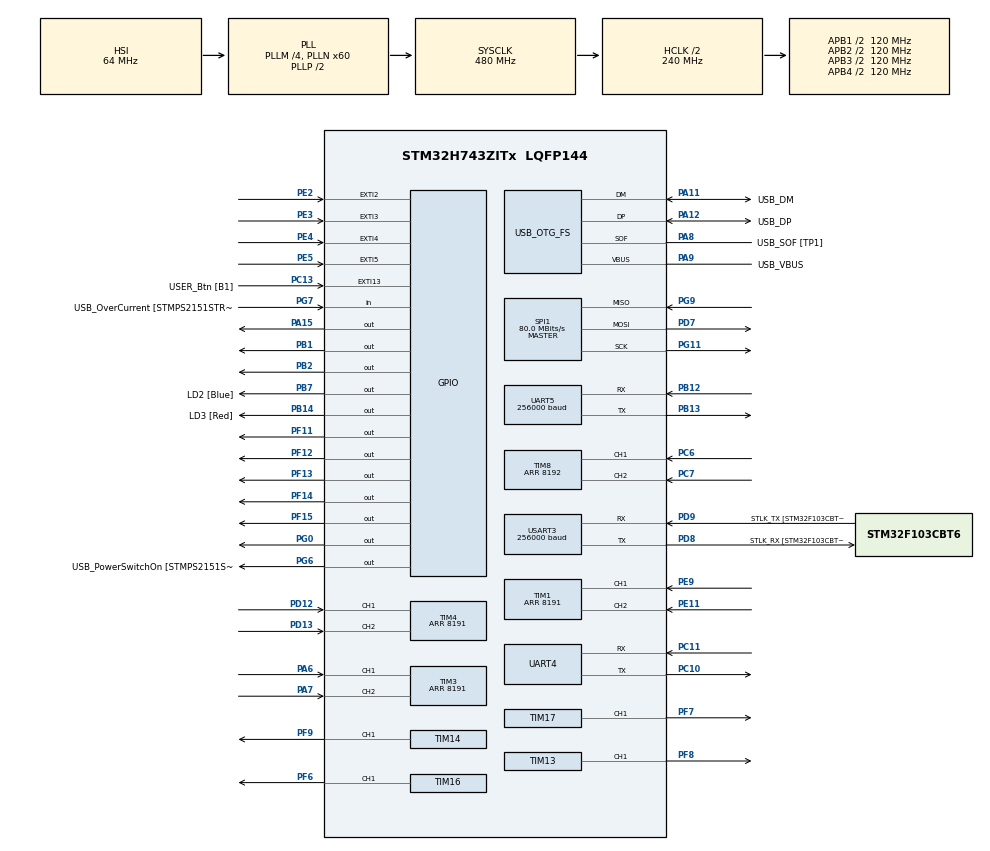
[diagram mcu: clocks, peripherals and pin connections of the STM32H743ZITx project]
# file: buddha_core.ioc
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Dma.USART3_RX.0.Polarity=HAL_DMAMUX_REQ_GEN_RISING
PD7.Mode=Full_Duplex_Master
VP_TIM17_VS_ClockSourceINT.Mode=Enable_Timer
SPI1.VirtualType=VM_MASTER
NVIC.TIM6_DAC_IRQn=true\:0\:0\:false\:false\:true\:true\:true
PB14.GPIO_Label=LD3 [Red]
PG6.GPIO_Label=USB_PowerSwitchOn [STMPS2151STR_EN]
PG0.Signal=GPIO_Output
RCC.PLLFRACN=0
PA15\ (JTDI).Signal=GPIO_Output
PB13.Signal=UART5_TX
RCC.SYSCLKSource=RCC_SYSCLKSOURCE_PLLCLK
USART3.VirtualMode-Asynchronous=VM_ASYNC
USART3.BaudRate=256000
PF7.Signal=S_TIM17_CH1
SH.S_TIM14_CH1.0=TIM14_CH1,PWM Generation1 CH1
SPI1.Direction=SPI_DIRECTION_2LINES
RCC.APB2TimFreq_Value=216000000
PC7.Signal=S_TIM8_CH2
SPI1.CalculateBaudRate=80.0 MBits/s
PD8.Signal=USART3_TX
PE5.Signal=GPXTI5
PB2.Signal=GPIO_Output
TIM17.Channel=TIM_CHANNEL_1
RCC.DIVM2=4
RCC.DIVM1=4
PE9.Signal=S_TIM1_CH1
SPI1.DataSize=SPI_DATASIZE_8BIT
SH.S_TIM4_CH2.0=TIM4_CH2,Encoder_Interface
PE2.Signal=GPXTI2
PA8.Signal=USB_OTG_FS_SOF
TIM4.Period=8191
Mcu.Package=LQFP144
PB1.Signal=GPIO_Output
RCC.PLL3FRACN=0
PD12.Signal=S_TIM4_CH1
PA10.Signal=USB_OTG_FS_ID
Dma.USART3_RX.0.SyncPolarity=HAL_DMAMUX_SYNC_NO_EVENT
PC11.Mode=Asynchronous
USART3.DMADisableonRxErrorParam=ADVFEATURE_DMA_DISABLEONRXERROR
PC14-OSC32_IN\ (OSC32_IN).Mode=LSE-External-Oscillator
RCC.APB2CLKDivider=RCC_HCLK_DIV2
NVIC.EXTI2_IRQn=true\:0\:0\:false\:false\:true\:true\:true
SH.S_TIM4_CH1.0=TIM4_CH1,Encoder_Interface
RCC.APB4Freq_Value=120000000
PF14.Signal=GPIO_Output
RCC.APB1TimFreq_Value=108000000
USART3.DataInvertParam=ADVFEATURE_DATAINV_DISABLE
UART5.BaudRate=256000
TIM1.Period=8191
PB13.Mode=Asynchronous
VP_TIM14_VS_ClockSourceINT.Mode=Enable_Timer
TIM16.Prescaler=119
PH0-OSC_IN\ (PH0).Mode=HSE-External-Clock-Source
Dma.USART3_RX.0.Instance=DMA1_Stream0
NVIC.EXTI4_IRQn=true\:0\:0\:false\:false\:true\:true\:true
RCC.DIVQ2=6
RCC.DIVQ1=6
PD9.GPIO_Label=STLK_TX [STM32F103CBT6_PA2]
PG9.Signal=SPI1_MISO
PA9.GPIO_Label=USB_VBUS
PC13.Signal=GPXTI13
PG9.Mode=Full_Duplex_Master
PC6.Signal=S_TIM8_CH1
PD7.Signal=SPI1_MOSI
PA11.GPIO_Label=USB_DM
SH.S_TIM16_CH1.0=TIM16_CH1,PWM Generation1 CH1
RCC.DIVP2=6
VP_TIM16_VS_ClockSourceINT.Mode=Enable_Timer
RCC.APB1CLKDivider=RCC_HCLK_DIV4
SH.S_TIM8_CH2.0=TIM8_CH2,Encoder_Interface
PA8.GPIO_Label=USB_SOF [TP1]
TIM13.Channel=TIM_CHANNEL_1
PE5.GPIO_ModeDefaultEXTI=GPIO_MODE_IT_FALLING
PA9.Signal=USB_OTG_FS_VBUS
Dma.USART3_RX.0.EventEnable=DISABLE
RCC.DIVN2=60
RCC.DIVN1=60
Dma.USART3_RX.0.SyncEnable=DISABLE
PD8.Mode=Asynchronous
PB14.Signal=GPIO_Output
RCC.USBCLockSelection=RCC_USBCLKSOURCE_HSI48
PE2.GPIO_PuPd=GPIO_NOPULL
SH.S_TIM8_CH1.0=TIM8_CH1,Encoder_Interface
VP_TIM13_VS_ClockSourceINT.Mode=Enable_Timer
TIM14.Channel=TIM_CHANNEL_1
RCC.PRESCALERUSB=RCC_USBCLKSOURCE_PLL_DIV1_5
TIM13.Prescaler=119
SPI1.Mode=SPI_MODE_MASTER
PG7.GPIO_Label=USB_OverCurrent [STMPS2151STR_FAULT]
PE3.GPIO_PuPd=GPIO_NOPULL
PF13.Signal=GPIO_Output
TIM14.Prescaler=119
PE4.GPIO_PuPd=GPIO_NOPULL
TIM8.Period=8192
PE2.PinAttribute=Free
PG11.Mode=Full_Duplex_Master
PA11.Signal=USB_OTG_FS_DM
ProjectManager.HeapSize=0x200
PF9.Signal=S_TIM14_CH1
SH.S_TIM17_CH1.0=TIM17_CH1,PWM Generation1 CH1
NVIC.PriorityGroup=NVIC_PRIORITYGROUP_4
PE3.Signal=GPXTI3
PE2.GPIO_ModeDefaultEXTI=GPIO_MODE_IT_FALLING
PA8.Mode=Activate_SOF_FS
Mcu.Family=STM32H7
NVIC.USART3_IRQn=true\:0\:0\:false\:false\:true\:true\:true
Dma.USART3_RX.0.PeriphInc=DMA_PINC_DISABLE
USART3.MSBFirstParam=ADVFEATURE_MSBFIRST_DISABLE
TIM17.Prescaler=119
RCC.CortexFreq_Value=480000000
PG6.Signal=GPIO_Output
RCC.HPRE=RCC_HCLK_DIV2
PH0-OSC_IN\ (PH0).Signal=RCC_OSC_IN
PC10.Signal=UART4_TX
PC15-OSC32_OUT\ (OSC32_OUT).Mode=LSE-External-Oscillator
TIM4.EncoderMode=TIM_ENCODERMODE_TI12
RCC.SYSCLKSourceVirtual=RCC_SYSCLKSOURCE_PLLCLK
TIM3.EncoderMode=TIM_ENCODERMODE_TI12
NVIC.EXTI3_IRQn=true\:0\:0\:false\:false\:true\:true\:true
TIM1.EncoderMode=TIM_ENCODERMODE_TI12
TIM8.EncoderMode=TIM_ENCODERMODE_TI12
PA11.Mode=Device_Only
RCC.PLL2FRACN=0
PC13.GPIO_Label=USER_Btn [B1]
PD9.Mode=Asynchronous
SH.S_TIM13_CH1.0=TIM13_CH1,PWM Generation1 CH1
PG11.Signal=SPI1_SCK
ProjectManager.StackSize=0x400
NVIC.UART5_IRQn=true\:0\:0\:false\:false\:true\:true\:true
VP_TIM7_VS_ClockSourceINT.Mode=Enable_Timer
PD13.Signal=S_TIM4_CH2
PA12.Signal=USB_OTG_FS_DP
PE5.GPIO_PuPd=GPIO_NOPULL
RCC.HCLKFreq_Value=240000000
TIM3.Period=8191
PF12.Signal=GPIO_Output
TIM7.Period=1000
RCC.AHBFreq_Value=216000000
RCC.HSE_VALUE=48000000
Dma.USART3_RX.0.MemDataAlignment=DMA_MDATAALIGN_BYTE
RCC.PLLMUL=RCC_PLL_MUL9
Dma.USART3_RX.0.SyncSignalID=NONE
PF11.Signal=GPIO_Output
PA10.GPIO_Label=USB_ID
Dma.USART3_RX.0.PeriphDataAlignment=DMA_PDATAALIGN_BYTE
USART3.FIFOMode=FIFOMODE_DISABLE
PB7.Signal=GPIO_Output
Dma.USART3_RX.0.FIFOMode=DMA_FIFOMODE_DISABLE
SH.S_TIM3_CH1.0=TIM3_CH1,Encoder_Interface
TIM6.Period=1000
PE4.Signal=GPXTI4
RCC.APB3Freq_Value=120000000
PB7.GPIO_Label=LD2 [Blue]
Dma.USART3_RX.0.Direction=DMA_PERIPH_TO_MEMORY
PA6.Signal=S_TIM3_CH1
PB12.Mode=Asynchronous
RCC.D1PPRE=RCC_APB3_DIV2
USB_OTG_FS.VirtualMode=Device_Only
PF8.Signal=S_TIM13_CH1
Dma.USART3_RX.0.MemInc=DMA_MINC_ENABLE
USART3.OverrunDisableParam=ADVFEATURE_OVERRUN_DISABLE
NVIC.DMA1_Stream0_IRQn=true\:0\:0\:false\:false\:true\:false\:true
Dma.Request0=USART3_RX
SPI1.BaudRatePrescaler=SPI_BAUDRATEPRESCALER_2
NVIC.TIM7_IRQn=true\:0\:0\:false\:false\:true\:true\:true
PE3.GPIO_ModeDefaultEXTI=GPIO_MODE_IT_FALLING
PG7.Signal=GPIO_Input
Dma.USART3_RX.0.SyncRequestNumber=1
PC11.Signal=UART4_RX
TIM6.Prescaler=119
PC10.Mode=Asynchronous
VP_TIM6_VS_ClockSourceINT.Mode=Enable_Timer
PE4.GPIO_ModeDefaultEXTI=GPIO_MODE_IT_FALLING
RCC.D2PPRE2=RCC_APB2_DIV2
RCC.D2PPRE1=RCC_APB1_DIV2
PD9.Signal=USART3_RX
TIM16.Channel=TIM_CHANNEL_1
PA12.GPIO_Label=USB_DP
Dma.USART3_RX.0.Mode=DMA_CIRCULAR
PD8.GPIO_Label=STLK_RX [STM32F103CBT6_PA3]
PA9.Mode=Activate_VBUS
SH.S_TIM1_CH1.0=TIM1_CH1,Encoder_Interface
PF6.Signal=S_TIM16_CH1
PB3\ (JTDO/TRACESWO).Signal=UART7_RX
ProjectManager.TargetToolchain=STM32CubeIDE
PC15-OSC32_OUT\ (OSC32_OUT).Signal=RCC_OSC32_OUT
RCC.USBFreq_Value=48000000
PE11.Signal=S_TIM1_CH2
SH.S_TIM3_CH2.0=TIM3_CH2,Encoder_Interface
TIM7.Prescaler=119
board=NUCLEO-H743ZI
RCC.VCOOutputFreq_Value=432000000
RCC.APB2Freq_Value=120000000
SH.S_TIM1_CH2.0=TIM1_CH2,Encoder_Interface
RCC.ADCFreq_Value=160000000
PF15.Signal=GPIO_Output
Mcu.Name=STM32H743ZITx
RCC.PLL3_VCI_Range-AdvancedSettings=RCC_PLL3VCIRANGE_3
Dma.USART3_RX.0.RequestNumber=1
RCC.48MHZClocksFreq_Value=24000000
RCC.SYSCLKFreq_VALUE=480000000
Dma.USART3_RX.0.Priority=DMA_PRIORITY_LOW
PA12.Mode=Device_Only
PC14-OSC32_IN\ (OSC32_IN).Signal=RCC_OSC32_IN
NVIC.EXTI9_5_IRQn=true\:0\:0\:false\:false\:true\:true\:true
Dma.USART3_RX.0.SignalID=NONE
RCC.HSI_VALUE=64000000
RCC.PLLQ=9
PH0-OSC_IN\ (PH0).GPIO_Label=MCO
RCC.PLLM=25
RCC.PLLN=432
RCC.D3PPRE=RCC_APB4_DIV2
RCC.APB1Freq_Value=120000000
PB12.Signal=UART5_RX
PA7.Signal=S_TIM3_CH2
PB4\ (NJTRST).Signal=UART7_TX

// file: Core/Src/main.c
/* USER CODE BEGIN Header */
/**
  ******************************************************************************
  * @file           : main.c
  * @brief          : Main program body
  ******************************************************************************
  * @attention
  *
  * <h2><center>&copy; Copyright (c) 2021 STMicroelectronics.
  * All rights reserved.</center></h2>
  *
  * This software component is licensed by ST under BSD 3-Clause license,
  * the "License"; You may not use this file except in compliance with the
  * License. You may obtain a copy of the License at:
  *                        opensource.org/licenses/BSD-3-Clause
  *
  ******************************************************************************
  */
/* USER CODE END Header */
#include "main.h"

/* USER CODE BEGIN Includes */
#include "string.h"
#include "stdio.h"
#include <stdlib.h>
/* USER CODE END Includes */

/* USER CODE BEGIN PTD */

typedef struct _UartStructure
{
	UART_HandleTypeDef *huart;
	uint16_t TxLen, RxLen;
	uint8_t *TxBuffer;
	uint16_t TxTail, TxHead;
	uint8_t *RxBuffer;
	uint16_t RxTail; //RXHeadUseDMA

} UARTStucrture;

typedef struct _Flag
{
	uint8_t status_flag;
	uint8_t verify_flag;
	uint8_t arrive;
	uint8_t feedback;

} FlagTypedef;

typedef struct _ControlVariables
{
	TIM_HandleTypeDef *htim;
	uint16_t viapoint;
	uint16_t nowPosition;
	uint16_t nowVelocity;
	float positionKp;
	float positionKi;
	float positionKd;
	float velocityKp;
	float velocityKi;
	float velocityKd;
	float trajectoryDeltat;
	float trajectoryT;
} controltypedef;

typedef enum
{
	pack_idle,
	pack_lenght,
	pack_inst,
	pack_collectdata,
	pack_CRCandExecute

} veriflypack;

typedef enum
{
	System_Idle,
	System_Home,
	System_ReprotStatus,
	System_JogJoint,
	System_CatesianJog,
	System_Move,
	System_PlanningMove,
	System_DYMXGripper,
	System_Moving_PositionControl,
	System_Moving_CasecadeControl

} SystemState;
/* USER CODE END PTD */

/* USER CODE BEGIN PD */

/*----------------------debug mode define-------------------------*/
#define verify_debug

#define MAX_PACKAGE_LEN 255

/* USER CODE END PD */

SPI_HandleTypeDef hspi1;

TIM_HandleTypeDef htim1;
TIM_HandleTypeDef htim3;
TIM_HandleTypeDef htim4;
TIM_HandleTypeDef htim6;
TIM_HandleTypeDef htim7;
TIM_HandleTypeDef htim8;
TIM_HandleTypeDef htim13;
TIM_HandleTypeDef htim14;
TIM_HandleTypeDef htim16;
TIM_HandleTypeDef htim17;

UART_HandleTypeDef huart4;
UART_HandleTypeDef huart5;
UART_HandleTypeDef huart3;
DMA_HandleTypeDef hdma_usart3_rx;

PCD_HandleTypeDef hpcd_USB_OTG_FS;

/* USER CODE BEGIN PV */

uint64_t _micros = 0;

/*-----------------------UART COMMUNICATION------------------*/
UARTStucrture com_rs485 = {0};
UARTStucrture com_usb = {0};
UARTStucrture dynamixel = {0};

/*-----------------------Package Verify Debug------------------*/
uint16_t verifyDegubVar[255] = {0};
uint16_t CRCdebug[2] = {0};

/*------------------------State Variable-----------------------*/
uint64_t control_timestamp = 0;
uint64_t feedback_timestamp = 0;

/*------------------------Control Variable-----------------------*/
controltypedef controlVarOfJoint[4] = {0};

/*---------------------Flag Variable-------------------------*/
FlagTypedef flag;

/*---------------------Test Variable-------------------------*/
int16_t input_data=0;
int debug_state = 0;
uint32_t now_head = 0;
uint16_t count=0;
/* USER CODE END PV */

void SystemClock_Config(void);
static void MX_GPIO_Init(void);
static void MX_DMA_Init(void);
static void MX_USART3_UART_Init(void);
static void MX_USB_OTG_FS_PCD_Init(void);
static void MX_SPI1_Init(void);
static void MX_TIM1_Init(void);
static void MX_TIM3_Init(void);
static void MX_TIM4_Init(void);
static void MX_TIM8_Init(void);
static void MX_TIM13_Init(void);
static void MX_TIM14_Init(void);
static void MX_TIM16_Init(void);
static void MX_TIM17_Init(void);
static void MX_UART4_Init(void);
static void MX_TIM6_Init(void);
static void MX_UART5_Init(void);
static void MX_TIM7_Init(void);
/* USER CODE BEGIN PFP */

void UARTInit(UARTStucrture *uart);
void UARTStartWorking(UARTStucrture *uart);
uint32_t UARTGetRxHead(UARTStucrture *uart);
int16_t UARTReadChar(UARTStucrture *uart);
int16_t UARTReadPack(UARTStucrture *uart);
void UARTTxDumpBuff(UARTStucrture *uart);
void UARTTxWrite(UARTStucrture *uart, uint8_t *data, uint16_t len);
void system_core(uint8_t input_pack,UARTStucrture *uart);

unsigned short update_crc(unsigned short crc_accum, unsigned char *data_blk_ptr,
		unsigned short data_blk_size);

void sendAck(uint16_t inst,UARTStucrture *uart);
void sendStatus(uint8_t require,UARTStucrture *uart);
void sendfeedback(uint16_t inst);
void configPosition();
void positioncontrol();
/* USER CODE END PFP */

int main(void)
{

  /* MCU Configuration--------------------------------------------------------*/

  /* Reset of all peripherals, Initializes the Flash interface and the Systick. */
  HAL_Init();

  /* Configure the system clock */
  SystemClock_Config();

  /* Initialize all configured peripherals */
  MX_GPIO_Init();
  MX_DMA_Init();
  MX_USART3_UART_Init();
  MX_USB_OTG_FS_PCD_Init();
  MX_SPI1_Init();
  MX_TIM1_Init();
  MX_TIM3_Init();
  MX_TIM4_Init();
  MX_TIM8_Init();
  MX_TIM13_Init();
  MX_TIM14_Init();
  MX_TIM16_Init();
  MX_TIM17_Init();
  MX_UART4_Init();
  MX_TIM6_Init();
  MX_UART5_Init();
  MX_TIM7_Init();
  /* USER CODE BEGIN 2 */

  com_usb.huart = &huart3;
  com_usb.RxLen = 255;
  com_usb.TxLen = 255;
  UARTInit(&com_usb);
  UARTStartWorking(&com_usb);

  dynamixel.huart = &huart4;
  dynamixel.RxLen = 255;
  dynamixel.TxLen = 255;
  UARTInit(&dynamixel);
  UARTStartWorking(&dynamixel);

  com_rs485.huart = &huart5;
  com_rs485.RxLen = 255;
  com_rs485.TxLen = 255;
  UARTInit(&com_rs485);
  UARTStartWorking(&com_rs485);

  configPosition();
  /* USER CODE END 2 */

  /* Infinite loop */
  /* USER CODE BEGIN WHILE */
  while (1)
  {

	  int16_t input_pack = UARTReadChar(&com_usb);
	  input_data = input_pack;
	  now_head = UARTGetRxHead(&com_usb);
	  if(input_pack != -1){
		  system_core(input_pack,&com_usb);
	  }
    /* USER CODE END WHILE */

  }
}

void SystemClock_Config(void)
{
  RCC_OscInitTypeDef RCC_OscInitStruct = {0};
  RCC_ClkInitTypeDef RCC_ClkInitStruct = {0};

  /** Supply configuration update enable
  */
  HAL_PWREx_ConfigSupply(PWR_LDO_SUPPLY);
  /** Configure the main internal regulator output voltage
  */
  __HAL_PWR_VOLTAGESCALING_CONFIG(PWR_REGULATOR_VOLTAGE_SCALE0);

  while(!__HAL_PWR_GET_FLAG(PWR_FLAG_VOSRDY)) {}
  /** Initializes the RCC Oscillators according to the specified parameters
  * in the RCC_OscInitTypeDef structure.
  */
  RCC_OscInitStruct.OscillatorType = RCC_OSCILLATORTYPE_HSI48|RCC_OSCILLATORTYPE_HSI;
  RCC_OscInitStruct.HSIState = RCC_HSI_DIV1;
  RCC_OscInitStruct.HSICalibrationValue = RCC_HSICALIBRATION_DEFAULT;
  RCC_OscInitStruct.HSI48State = RCC_HSI48_ON;
  RCC_OscInitStruct.PLL.PLLState = RCC_PLL_ON;
  RCC_OscInitStruct.PLL.PLLSource = RCC_PLLSOURCE_HSI;
  RCC_OscInitStruct.PLL.PLLM = 4;
  RCC_OscInitStruct.PLL.PLLN = 60;
  RCC_OscInitStruct.PLL.PLLP = 2;
  RCC_OscInitStruct.PLL.PLLQ = 6;
  RCC_OscInitStruct.PLL.PLLR = 2;
  RCC_OscInitStruct.PLL.PLLRGE = RCC_PLL1VCIRANGE_3;
  RCC_OscInitStruct.PLL.PLLVCOSEL = RCC_PLL1VCOWIDE;
  RCC_OscInitStruct.PLL.PLLFRACN = 0;
  if (HAL_RCC_OscConfig(&RCC_OscInitStruct) != HAL_OK)
  {
    Error_Handler();
  }
  /** Initializes the CPU, AHB and APB buses clocks
  */
  RCC_ClkInitStruct.ClockType = RCC_CLOCKTYPE_HCLK|RCC_CLOCKTYPE_SYSCLK
                              |RCC_CLOCKTYPE_PCLK1|RCC_CLOCKTYPE_PCLK2
                              |RCC_CLOCKTYPE_D3PCLK1|RCC_CLOCKTYPE_D1PCLK1;
  RCC_ClkInitStruct.SYSCLKSource = RCC_SYSCLKSOURCE_PLLCLK;
  RCC_ClkInitStruct.SYSCLKDivider = RCC_SYSCLK_DIV1;
  RCC_ClkInitStruct.AHBCLKDivider = RCC_HCLK_DIV2;
  RCC_ClkInitStruct.APB3CLKDivider = RCC_APB3_DIV2;
  RCC_ClkInitStruct.APB1CLKDivider = RCC_APB1_DIV2;
  RCC_ClkInitStruct.APB2CLKDivider = RCC_APB2_DIV2;
  RCC_ClkInitStruct.APB4CLKDivider = RCC_APB4_DIV2;

  if (HAL_RCC_ClockConfig(&RCC_ClkInitStruct, FLASH_LATENCY_4) != HAL_OK)
  {
    Error_Handler();
  }
}

static void MX_SPI1_Init(void)
{

  /* SPI1 parameter configuration*/
  hspi1.Instance = SPI1;
  hspi1.Init.Mode = SPI_MODE_MASTER;
  hspi1.Init.Direction = SPI_DIRECTION_2LINES;
  hspi1.Init.DataSize = SPI_DATASIZE_8BIT;
  hspi1.Init.CLKPolarity = SPI_POLARITY_LOW;
  hspi1.Init.CLKPhase = SPI_PHASE_1EDGE;
  hspi1.Init.NSS = SPI_NSS_SOFT;
  hspi1.Init.BaudRatePrescaler = SPI_BAUDRATEPRESCALER_2;
  hspi1.Init.FirstBit = SPI_FIRSTBIT_MSB;
  hspi1.Init.TIMode = SPI_TIMODE_DISABLE;
  hspi1.Init.CRCCalculation = SPI_CRCCALCULATION_DISABLE;
  hspi1.Init.CRCPolynomial = 0x0;
  hspi1.Init.NSSPMode = SPI_NSS_PULSE_ENABLE;
  hspi1.Init.NSSPolarity = SPI_NSS_POLARITY_LOW;
  hspi1.Init.FifoThreshold = SPI_FIFO_THRESHOLD_01DATA;
  hspi1.Init.TxCRCInitializationPattern = SPI_CRC_INITIALIZATION_ALL_ZERO_PATTERN;
  hspi1.Init.RxCRCInitializationPattern = SPI_CRC_INITIALIZATION_ALL_ZERO_PATTERN;
  hspi1.Init.MasterSSIdleness = SPI_MASTER_SS_IDLENESS_00CYCLE;
  hspi1.Init.MasterInterDataIdleness = SPI_MASTER_INTERDATA_IDLENESS_00CYCLE;
  hspi1.Init.MasterReceiverAutoSusp = SPI_MASTER_RX_AUTOSUSP_DISABLE;
  hspi1.Init.MasterKeepIOState = SPI_MASTER_KEEP_IO_STATE_DISABLE;
  hspi1.Init.IOSwap = SPI_IO_SWAP_DISABLE;
  if (HAL_SPI_Init(&hspi1) != HAL_OK)
  {
    Error_Handler();
  }

}

static void MX_TIM1_Init(void)
{

  TIM_Encoder_InitTypeDef sConfig = {0};
  TIM_MasterConfigTypeDef sMasterConfig = {0};

  htim1.Instance = TIM1;
  htim1.Init.Prescaler = 0;
  htim1.Init.CounterMode = TIM_COUNTERMODE_UP;
  htim1.Init.Period = 8191;
  htim1.Init.ClockDivision = TIM_CLOCKDIVISION_DIV1;
  htim1.Init.RepetitionCounter = 0;
  htim1.Init.AutoReloadPreload = TIM_AUTORELOAD_PRELOAD_DISABLE;
  sConfig.EncoderMode = TIM_ENCODERMODE_TI12;
  sConfig.IC1Polarity = TIM_ICPOLARITY_RISING;
  sConfig.IC1Selection = TIM_ICSELECTION_DIRECTTI;
  sConfig.IC1Prescaler = TIM_ICPSC_DIV1;
  sConfig.IC1Filter = 0;
  sConfig.IC2Polarity = TIM_ICPOLARITY_RISING;
  sConfig.IC2Selection = TIM_ICSELECTION_DIRECTTI;
  sConfig.IC2Prescaler = TIM_ICPSC_DIV1;
  sConfig.IC2Filter = 0;
  if (HAL_TIM_Encoder_Init(&htim1, &sConfig) != HAL_OK)
  {
    Error_Handler();
  }
  sMasterConfig.MasterOutputTrigger = TIM_TRGO_RESET;
  sMasterConfig.MasterOutputTrigger2 = TIM_TRGO2_RESET;
  sMasterConfig.MasterSlaveMode = TIM_MASTERSLAVEMODE_DISABLE;
  if (HAL_TIMEx_MasterConfigSynchronization(&htim1, &sMasterConfig) != HAL_OK)
  {
    Error_Handler();
  }

}

static void MX_TIM3_Init(void)
{

  TIM_Encoder_InitTypeDef sConfig = {0};
  TIM_MasterConfigTypeDef sMasterConfig = {0};

  htim3.Instance = TIM3;
  htim3.Init.Prescaler = 0;
  htim3.Init.CounterMode = TIM_COUNTERMODE_UP;
  htim3.Init.Period = 8191;
  htim3.Init.ClockDivision = TIM_CLOCKDIVISION_DIV1;
  htim3.Init.AutoReloadPreload = TIM_AUTORELOAD_PRELOAD_DISABLE;
  sConfig.EncoderMode = TIM_ENCODERMODE_TI12;
  sConfig.IC1Polarity = TIM_ICPOLARITY_RISING;
  sConfig.IC1Selection = TIM_ICSELECTION_DIRECTTI;
  sConfig.IC1Prescaler = TIM_ICPSC_DIV1;
  sConfig.IC1Filter = 0;
  sConfig.IC2Polarity = TIM_ICPOLARITY_RISING;
  sConfig.IC2Selection = TIM_ICSELECTION_DIRECTTI;
  sConfig.IC2Prescaler = TIM_ICPSC_DIV1;
  sConfig.IC2Filter = 0;
  if (HAL_TIM_Encoder_Init(&htim3, &sConfig) != HAL_OK)
  {
    Error_Handler();
  }
  sMasterConfig.MasterOutputTrigger = TIM_TRGO_RESET;
  sMasterConfig.MasterSlaveMode = TIM_MASTERSLAVEMODE_DISABLE;
  if (HAL_TIMEx_MasterConfigSynchronization(&htim3, &sMasterConfig) != HAL_OK)
  {
    Error_Handler();
  }

}

static void MX_TIM4_Init(void)
{

  TIM_Encoder_InitTypeDef sConfig = {0};
  TIM_MasterConfigTypeDef sMasterConfig = {0};

  htim4.Instance = TIM4;
  htim4.Init.Prescaler = 0;
  htim4.Init.CounterMode = TIM_COUNTERMODE_UP;
  htim4.Init.Period = 8191;
  htim4.Init.ClockDivision = TIM_CLOCKDIVISION_DIV1;
  htim4.Init.AutoReloadPreload = TIM_AUTORELOAD_PRELOAD_DISABLE;
  sConfig.EncoderMode = TIM_ENCODERMODE_TI12;
  sConfig.IC1Polarity = TIM_ICPOLARITY_RISING;
  sConfig.IC1Selection = TIM_ICSELECTION_DIRECTTI;
  sConfig.IC1Prescaler = TIM_ICPSC_DIV1;
  sConfig.IC1Filter = 0;
  sConfig.IC2Polarity = TIM_ICPOLARITY_RISING;
  sConfig.IC2Selection = TIM_ICSELECTION_DIRECTTI;
  sConfig.IC2Prescaler = TIM_ICPSC_DIV1;
  sConfig.IC2Filter = 0;
  if (HAL_TIM_Encoder_Init(&htim4, &sConfig) != HAL_OK)
  {
    Error_Handler();
  }
  sMasterConfig.MasterOutputTrigger = TIM_TRGO_RESET;
  sMasterConfig.MasterSlaveMode = TIM_MASTERSLAVEMODE_DISABLE;
  if (HAL_TIMEx_MasterConfigSynchronization(&htim4, &sMasterConfig) != HAL_OK)
  {
    Error_Handler();
  }

}

static void MX_TIM6_Init(void)
{

  TIM_MasterConfigTypeDef sMasterConfig = {0};

  htim6.Instance = TIM6;
  htim6.Init.Prescaler = 119;
  htim6.Init.CounterMode = TIM_COUNTERMODE_UP;
  htim6.Init.Period = 1000;
  htim6.Init.AutoReloadPreload = TIM_AUTORELOAD_PRELOAD_DISABLE;
  if (HAL_TIM_Base_Init(&htim6) != HAL_OK)
  {
    Error_Handler();
  }
  sMasterConfig.MasterOutputTrigger = TIM_TRGO_RESET;
  sMasterConfig.MasterSlaveMode = TIM_MASTERSLAVEMODE_DISABLE;
  if (HAL_TIMEx_MasterConfigSynchronization(&htim6, &sMasterConfig) != HAL_OK)
  {
    Error_Handler();
  }

}

static void MX_TIM7_Init(void)
{

  TIM_MasterConfigTypeDef sMasterConfig = {0};

  htim7.Instance = TIM7;
  htim7.Init.Prescaler = 119;
  htim7.Init.CounterMode = TIM_COUNTERMODE_UP;
  htim7.Init.Period = 1000;
  htim7.Init.AutoReloadPreload = TIM_AUTORELOAD_PRELOAD_DISABLE;
  if (HAL_TIM_Base_Init(&htim7) != HAL_OK)
  {
    Error_Handler();
  }
  sMasterConfig.MasterOutputTrigger = TIM_TRGO_RESET;
  sMasterConfig.MasterSlaveMode = TIM_MASTERSLAVEMODE_DISABLE;
  if (HAL_TIMEx_MasterConfigSynchronization(&htim7, &sMasterConfig) != HAL_OK)
  {
    Error_Handler();
  }

}

static void MX_TIM8_Init(void)
{

  TIM_Encoder_InitTypeDef sConfig = {0};
  TIM_MasterConfigTypeDef sMasterConfig = {0};

  htim8.Instance = TIM8;
  htim8.Init.Prescaler = 0;
  htim8.Init.CounterMode = TIM_COUNTERMODE_UP;
  htim8.Init.Period = 8192;
  htim8.Init.ClockDivision = TIM_CLOCKDIVISION_DIV1;
  htim8.Init.RepetitionCounter = 0;
  htim8.Init.AutoReloadPreload = TIM_AUTORELOAD_PRELOAD_DISABLE;
  sConfig.EncoderMode = TIM_ENCODERMODE_TI12;
  sConfig.IC1Polarity = TIM_ICPOLARITY_RISING;
  sConfig.IC1Selection = TIM_ICSELECTION_DIRECTTI;
  sConfig.IC1Prescaler = TIM_ICPSC_DIV1;
  sConfig.IC1Filter = 0;
  sConfig.IC2Polarity = TIM_ICPOLARITY_RISING;
  sConfig.IC2Selection = TIM_ICSELECTION_DIRECTTI;
  sConfig.IC2Prescaler = TIM_ICPSC_DIV1;
  sConfig.IC2Filter = 0;
  if (HAL_TIM_Encoder_Init(&htim8, &sConfig) != HAL_OK)
  {
    Error_Handler();
  }
  sMasterConfig.MasterOutputTrigger = TIM_TRGO_RESET;
  sMasterConfig.MasterOutputTrigger2 = TIM_TRGO2_RESET;
  sMasterConfig.MasterSlaveMode = TIM_MASTERSLAVEMODE_DISABLE;
  if (HAL_TIMEx_MasterConfigSynchronization(&htim8, &sMasterConfig) != HAL_OK)
  {
    Error_Handler();
  }

}

static void MX_TIM13_Init(void)
{

  TIM_OC_InitTypeDef sConfigOC = {0};

  htim13.Instance = TIM13;
  htim13.Init.Prescaler = 119;
  htim13.Init.CounterMode = TIM_COUNTERMODE_UP;
  htim13.Init.Period = 65535;
  htim13.Init.ClockDivision = TIM_CLOCKDIVISION_DIV1;
  htim13.Init.AutoReloadPreload = TIM_AUTORELOAD_PRELOAD_DISABLE;
  if (HAL_TIM_Base_Init(&htim13) != HAL_OK)
  {
    Error_Handler();
  }
  if (HAL_TIM_PWM_Init(&htim13) != HAL_OK)
  {
    Error_Handler();
  }
  sConfigOC.OCMode = TIM_OCMODE_PWM1;
  sConfigOC.Pulse = 0;
  sConfigOC.OCPolarity = TIM_OCPOLARITY_HIGH;
  sConfigOC.OCFastMode = TIM_OCFAST_DISABLE;
  if (HAL_TIM_PWM_ConfigChannel(&htim13, &sConfigOC, TIM_CHANNEL_1) != HAL_OK)
  {
    Error_Handler();
  }
  HAL_TIM_MspPostInit(&htim13);

}

static void MX_TIM14_Init(void)
{

  TIM_OC_InitTypeDef sConfigOC = {0};

  htim14.Instance = TIM14;
  htim14.Init.Prescaler = 119;
  htim14.Init.CounterMode = TIM_COUNTERMODE_UP;
  htim14.Init.Period = 65535;
  htim14.Init.ClockDivision = TIM_CLOCKDIVISION_DIV1;
  htim14.Init.AutoReloadPreload = TIM_AUTORELOAD_PRELOAD_DISABLE;
  if (HAL_TIM_Base_Init(&htim14) != HAL_OK)
  {
    Error_Handler();
  }
  if (HAL_TIM_PWM_Init(&htim14) != HAL_OK)
  {
    Error_Handler();
  }
  sConfigOC.OCMode = TIM_OCMODE_PWM1;
  sConfigOC.Pulse = 0;
  sConfigOC.OCPolarity = TIM_OCPOLARITY_HIGH;
  sConfigOC.OCFastMode = TIM_OCFAST_DISABLE;
  if (HAL_TIM_PWM_ConfigChannel(&htim14, &sConfigOC, TIM_CHANNEL_1) != HAL_OK)
  {
    Error_Handler();
  }
  HAL_TIM_MspPostInit(&htim14);

}

static void MX_TIM16_Init(void)
{

  TIM_OC_InitTypeDef sConfigOC = {0};
  TIM_BreakDeadTimeConfigTypeDef sBreakDeadTimeConfig = {0};

  htim16.Instance = TIM16;
  htim16.Init.Prescaler = 119;
  htim16.Init.CounterMode = TIM_COUNTERMODE_UP;
  htim16.Init.Period = 65535;
  htim16.Init.ClockDivision = TIM_CLOCKDIVISION_DIV1;
  htim16.Init.RepetitionCounter = 0;
  htim16.Init.AutoReloadPreload = TIM_AUTORELOAD_PRELOAD_DISABLE;
  if (HAL_TIM_Base_Init(&htim16) != HAL_OK)
  {
    Error_Handler();
  }
  if (HAL_TIM_PWM_Init(&htim16) != HAL_OK)
  {
    Error_Handler();
  }
  sConfigOC.OCMode = TIM_OCMODE_PWM1;
  sConfigOC.Pulse = 0;
  sConfigOC.OCPolarity = TIM_OCPOLARITY_HIGH;
  sConfigOC.OCNPolarity = TIM_OCNPOLARITY_HIGH;
  sConfigOC.OCFastMode = TIM_OCFAST_DISABLE;
  sConfigOC.OCIdleState = TIM_OCIDLESTATE_RESET;
  sConfigOC.OCNIdleState = TIM_OCNIDLESTATE_RESET;
  if (HAL_TIM_PWM_ConfigChannel(&htim16, &sConfigOC, TIM_CHANNEL_1) != HAL_OK)
  {
    Error_Handler();
  }
  sBreakDeadTimeConfig.OffStateRunMode = TIM_OSSR_DISABLE;
  sBreakDeadTimeConfig.OffStateIDLEMode = TIM_OSSI_DISABLE;
  sBreakDeadTimeConfig.LockLevel = TIM_LOCKLEVEL_OFF;
  sBreakDeadTimeConfig.DeadTime = 0;
  sBreakDeadTimeConfig.BreakState = TIM_BREAK_DISABLE;
  sBreakDeadTimeConfig.BreakPolarity = TIM_BREAKPOLARITY_HIGH;
  sBreakDeadTimeConfig.BreakFilter = 0;
  sBreakDeadTimeConfig.AutomaticOutput = TIM_AUTOMATICOUTPUT_DISABLE;
  if (HAL_TIMEx_ConfigBreakDeadTime(&htim16, &sBreakDeadTimeConfig) != HAL_OK)
  {
    Error_Handler();
  }
  HAL_TIM_MspPostInit(&htim16);

}

static void MX_TIM17_Init(void)
{

  TIM_OC_InitTypeDef sConfigOC = {0};
  TIM_BreakDeadTimeConfigTypeDef sBreakDeadTimeConfig = {0};

  htim17.Instance = TIM17;
  htim17.Init.Prescaler = 119;
  htim17.Init.CounterMode = TIM_COUNTERMODE_UP;
  htim17.Init.Period = 65535;
  htim17.Init.ClockDivision = TIM_CLOCKDIVISION_DIV1;
  htim17.Init.RepetitionCounter = 0;
  htim17.Init.AutoReloadPreload = TIM_AUTORELOAD_PRELOAD_DISABLE;
  if (HAL_TIM_Base_Init(&htim17) != HAL_OK)
  {
    Error_Handler();
  }
  if (HAL_TIM_PWM_Init(&htim17) != HAL_OK)
  {
    Error_Handler();
  }
  sConfigOC.OCMode = TIM_OCMODE_PWM1;
  sConfigOC.Pulse = 0;
  sConfigOC.OCPolarity = TIM_OCPOLARITY_HIGH;
  sConfigOC.OCNPolarity = TIM_OCNPOLARITY_HIGH;
  sConfigOC.OCFastMode = TIM_OCFAST_DISABLE;
  sConfigOC.OCIdleState = TIM_OCIDLESTATE_RESET;
  sConfigOC.OCNIdleState = TIM_OCNIDLESTATE_RESET;
  if (HAL_TIM_PWM_ConfigChannel(&htim17, &sConfigOC, TIM_CHANNEL_1) != HAL_OK)
  {
    Error_Handler();
  }
  sBreakDeadTimeConfig.OffStateRunMode = TIM_OSSR_DISABLE;
  sBreakDeadTimeConfig.OffStateIDLEMode = TIM_OSSI_DISABLE;
  sBreakDeadTimeConfig.LockLevel = TIM_LOCKLEVEL_OFF;
  sBreakDeadTimeConfig.DeadTime = 0;
  sBreakDeadTimeConfig.BreakState = TIM_BREAK_DISABLE;
  sBreakDeadTimeConfig.BreakPolarity = TIM_BREAKPOLARITY_HIGH;
  sBreakDeadTimeConfig.BreakFilter = 0;
  sBreakDeadTimeConfig.AutomaticOutput = TIM_AUTOMATICOUTPUT_DISABLE;
  if (HAL_TIMEx_ConfigBreakDeadTime(&htim17, &sBreakDeadTimeConfig) != HAL_OK)
  {
    Error_Handler();
  }
  HAL_TIM_MspPostInit(&htim17);

}

static void MX_UART4_Init(void)
{

  huart4.Instance = UART4;
  huart4.Init.BaudRate = 115200;
  huart4.Init.WordLength = UART_WORDLENGTH_8B;
  huart4.Init.StopBits = UART_STOPBITS_1;
  huart4.Init.Parity = UART_PARITY_NONE;
  huart4.Init.Mode = UART_MODE_TX_RX;
  huart4.Init.HwFlowCtl = UART_HWCONTROL_NONE;
  huart4.Init.OverSampling = UART_OVERSAMPLING_16;
  huart4.Init.OneBitSampling = UART_ONE_BIT_SAMPLE_DISABLE;
  huart4.Init.ClockPrescaler = UART_PRESCALER_DIV1;
  huart4.AdvancedInit.AdvFeatureInit = UART_ADVFEATURE_NO_INIT;
  if (HAL_UART_Init(&huart4) != HAL_OK)
  {
    Error_Handler();
  }
  if (HAL_UARTEx_SetTxFifoThreshold(&huart4, UART_TXFIFO_THRESHOLD_1_8) != HAL_OK)
  {
    Error_Handler();
  }
  if (HAL_UARTEx_SetRxFifoThreshold(&huart4, UART_RXFIFO_THRESHOLD_1_8) != HAL_OK)
  {
    Error_Handler();
  }
  if (HAL_UARTEx_DisableFifoMode(&huart4) != HAL_OK)
  {
    Error_Handler();
  }

}

static void MX_UART5_Init(void)
{

  huart5.Instance = UART5;
  huart5.Init.BaudRate = 256000;
  huart5.Init.WordLength = UART_WORDLENGTH_8B;
  huart5.Init.StopBits = UART_STOPBITS_1;
  huart5.Init.Parity = UART_PARITY_NONE;
  huart5.Init.Mode = UART_MODE_TX_RX;
  huart5.Init.HwFlowCtl = UART_HWCONTROL_NONE;
  huart5.Init.OverSampling = UART_OVERSAMPLING_16;
  huart5.Init.OneBitSampling = UART_ONE_BIT_SAMPLE_DISABLE;
  huart5.Init.ClockPrescaler = UART_PRESCALER_DIV1;
  huart5.AdvancedInit.AdvFeatureInit = UART_ADVFEATURE_NO_INIT;
  if (HAL_UART_Init(&huart5) != HAL_OK)
  {
    Error_Handler();
  }
  if (HAL_UARTEx_SetTxFifoThreshold(&huart5, UART_TXFIFO_THRESHOLD_1_8) != HAL_OK)
  {
    Error_Handler();
  }
  if (HAL_UARTEx_SetRxFifoThreshold(&huart5, UART_RXFIFO_THRESHOLD_1_8) != HAL_OK)
  {
    Error_Handler();
  }
  if (HAL_UARTEx_DisableFifoMode(&huart5) != HAL_OK)
  {
    Error_Handler();
  }

}

static void MX_USART3_UART_Init(void)
{

  huart3.Instance = USART3;
  huart3.Init.BaudRate = 256000;
  huart3.Init.WordLength = UART_WORDLENGTH_8B;
  huart3.Init.StopBits = UART_STOPBITS_1;
  huart3.Init.Parity = UART_PARITY_NONE;
  huart3.Init.Mode = UART_MODE_TX_RX;
  huart3.Init.HwFlowCtl = UART_HWCONTROL_NONE;
  huart3.Init.OverSampling = UART_OVERSAMPLING_16;
  huart3.Init.OneBitSampling = UART_ONE_BIT_SAMPLE_DISABLE;
  huart3.Init.ClockPrescaler = UART_PRESCALER_DIV1;
  huart3.AdvancedInit.AdvFeatureInit = UART_ADVFEATURE_RXOVERRUNDISABLE_INIT|UART_ADVFEATURE_DMADISABLEONERROR_INIT;
  huart3.AdvancedInit.OverrunDisable = UART_ADVFEATURE_OVERRUN_DISABLE;
  huart3.AdvancedInit.DMADisableonRxError = UART_ADVFEATURE_DMA_DISABLEONRXERROR;
  if (HAL_UART_Init(&huart3) != HAL_OK)
  {
    Error_Handler();
  }
  if (HAL_UARTEx_SetTxFifoThreshold(&huart3, UART_TXFIFO_THRESHOLD_1_8) != HAL_OK)
  {
    Error_Handler();
  }
  if (HAL_UARTEx_SetRxFifoThreshold(&huart3, UART_RXFIFO_THRESHOLD_1_8) != HAL_OK)
  {
    Error_Handler();
  }
  if (HAL_UARTEx_DisableFifoMode(&huart3) != HAL_OK)
  {
    Error_Handler();
  }

}

static void MX_USB_OTG_FS_PCD_Init(void)
{

  hpcd_USB_OTG_FS.Instance = USB_OTG_FS;
  hpcd_USB_OTG_FS.Init.dev_endpoints = 9;
  hpcd_USB_OTG_FS.Init.speed = PCD_SPEED_FULL;
  hpcd_USB_OTG_FS.Init.dma_enable = DISABLE;
  hpcd_USB_OTG_FS.Init.phy_itface = PCD_PHY_EMBEDDED;
  hpcd_USB_OTG_FS.Init.Sof_enable = ENABLE;
  hpcd_USB_OTG_FS.Init.low_power_enable = DISABLE;
  hpcd_USB_OTG_FS.Init.lpm_enable = DISABLE;
  hpcd_USB_OTG_FS.Init.battery_charging_enable = ENABLE;
  hpcd_USB_OTG_FS.Init.vbus_sensing_enable = ENABLE;
  hpcd_USB_OTG_FS.Init.use_dedicated_ep1 = DISABLE;
  if (HAL_PCD_Init(&hpcd_USB_OTG_FS) != HAL_OK)
  {
    Error_Handler();
  }

}

static void MX_DMA_Init(void)
{

  /* DMA controller clock enable */
  __HAL_RCC_DMA1_CLK_ENABLE();

  /* DMA interrupt init */
  /* DMA1_Stream0_IRQn interrupt configuration */
  HAL_NVIC_SetPriority(DMA1_Stream0_IRQn, 0, 0);
  HAL_NVIC_EnableIRQ(DMA1_Stream0_IRQn);

}

static void MX_GPIO_Init(void)
{
  GPIO_InitTypeDef GPIO_InitStruct = {0};

  /* GPIO Ports Clock Enable */
  __HAL_RCC_GPIOE_CLK_ENABLE();
  __HAL_RCC_GPIOC_CLK_ENABLE();
  __HAL_RCC_GPIOF_CLK_ENABLE();
  __HAL_RCC_GPIOH_CLK_ENABLE();
  __HAL_RCC_GPIOA_CLK_ENABLE();
  __HAL_RCC_GPIOB_CLK_ENABLE();
  __HAL_RCC_GPIOG_CLK_ENABLE();
  __HAL_RCC_GPIOD_CLK_ENABLE();

  /*Configure GPIO pin Output Level */
  HAL_GPIO_WritePin(GPIOB, GPIO_PIN_1|GPIO_PIN_2|LD3_Pin|LD2_Pin, GPIO_PIN_RESET);

  /*Configure GPIO pin Output Level */
  HAL_GPIO_WritePin(GPIOF, GPIO_PIN_11|GPIO_PIN_12|GPIO_PIN_13|GPIO_PIN_14
                          |GPIO_PIN_15, GPIO_PIN_RESET);

  /*Configure GPIO pin Output Level */
  HAL_GPIO_WritePin(GPIOG, GPIO_PIN_0|USB_PowerSwitchOn_Pin, GPIO_PIN_RESET);

  /*Configure GPIO pin Output Level */
  HAL_GPIO_WritePin(GPIOA, GPIO_PIN_15, GPIO_PIN_RESET);

  /*Configure GPIO pins : PE2 PE3 PE4 PE5 */
  GPIO_InitStruct.Pin = GPIO_PIN_2|GPIO_PIN_3|GPIO_PIN_4|GPIO_PIN_5;
  GPIO_InitStruct.Mode = GPIO_MODE_IT_FALLING;
  GPIO_InitStruct.Pull = GPIO_NOPULL;
  HAL_GPIO_Init(GPIOE, &GPIO_InitStruct);

  /*Configure GPIO pin : USER_Btn_Pin */
  GPIO_InitStruct.Pin = USER_Btn_Pin;
  GPIO_InitStruct.Mode = GPIO_MODE_IT_RISING;
  GPIO_InitStruct.Pull = GPIO_NOPULL;
  HAL_GPIO_Init(USER_Btn_GPIO_Port, &GPIO_InitStruct);

  /*Configure GPIO pins : PB1 PB2 LD3_Pin LD2_Pin */
  GPIO_InitStruct.Pin = GPIO_PIN_1|GPIO_PIN_2|LD3_Pin|LD2_Pin;
  GPIO_InitStruct.Mode = GPIO_MODE_OUTPUT_PP;
  GPIO_InitStruct.Pull = GPIO_NOPULL;
  GPIO_InitStruct.Speed = GPIO_SPEED_FREQ_LOW;
  HAL_GPIO_Init(GPIOB, &GPIO_InitStruct);

  /*Configure GPIO pins : PF11 PF12 PF13 PF14
                           PF15 */
  GPIO_InitStruct.Pin = GPIO_PIN_11|GPIO_PIN_12|GPIO_PIN_13|GPIO_PIN_14
                          |GPIO_PIN_15;
  GPIO_InitStruct.Mode = GPIO_MODE_OUTPUT_PP;
  GPIO_InitStruct.Pull = GPIO_NOPULL;
  GPIO_InitStruct.Speed = GPIO_SPEED_FREQ_LOW;
  HAL_GPIO_Init(GPIOF, &GPIO_InitStruct);

  /*Configure GPIO pins : PG0 USB_PowerSwitchOn_Pin */
  GPIO_InitStruct.Pin = GPIO_PIN_0|USB_PowerSwitchOn_Pin;
  GPIO_InitStruct.Mode = GPIO_MODE_OUTPUT_PP;
  GPIO_InitStruct.Pull = GPIO_NOPULL;
  GPIO_InitStruct.Speed = GPIO_SPEED_FREQ_LOW;
  HAL_GPIO_Init(GPIOG, &GPIO_InitStruct);

  /*Configure GPIO pin : USB_OverCurrent_Pin */
  GPIO_InitStruct.Pin = USB_OverCurrent_Pin;
  GPIO_InitStruct.Mode = GPIO_MODE_INPUT;
  GPIO_InitStruct.Pull = GPIO_NOPULL;
  HAL_GPIO_Init(USB_OverCurrent_GPIO_Port, &GPIO_InitStruct);

  /*Configure GPIO pin : PA15 */
  GPIO_InitStruct.Pin = GPIO_PIN_15;
  GPIO_InitStruct.Mode = GPIO_MODE_OUTPUT_PP;
  GPIO_InitStruct.Pull = GPIO_NOPULL;
  GPIO_InitStruct.Speed = GPIO_SPEED_FREQ_LOW;
  HAL_GPIO_Init(GPIOA, &GPIO_InitStruct);

  /*Configure GPIO pins : PB3 PB4 */
  GPIO_InitStruct.Pin = GPIO_PIN_3|GPIO_PIN_4;
  GPIO_InitStruct.Mode = GPIO_MODE_AF_PP;
  GPIO_InitStruct.Pull = GPIO_NOPULL;
  GPIO_InitStruct.Speed = GPIO_SPEED_FREQ_LOW;
  GPIO_InitStruct.Alternate = GPIO_AF11_UART7;
  HAL_GPIO_Init(GPIOB, &GPIO_InitStruct);

  /* EXTI interrupt init*/
  HAL_NVIC_SetPriority(EXTI2_IRQn, 0, 0);
  HAL_NVIC_EnableIRQ(EXTI2_IRQn);

  HAL_NVIC_SetPriority(EXTI3_IRQn, 0, 0);
  HAL_NVIC_EnableIRQ(EXTI3_IRQn);

  HAL_NVIC_SetPriority(EXTI4_IRQn, 0, 0);
  HAL_NVIC_EnableIRQ(EXTI4_IRQn);

  HAL_NVIC_SetPriority(EXTI9_5_IRQn, 0, 0);
  HAL_NVIC_EnableIRQ(EXTI9_5_IRQn);

}

/* USER CODE BEGIN 4 */
void UARTInit(UARTStucrture *uart){
		uart->RxBuffer = (uint8_t*) calloc(sizeof(uint8_t),uart->RxLen);
		uart->TxBuffer = (uint8_t*) calloc(sizeof(uint8_t),uart->TxLen);
		uart->RxTail = 0;
		uart->TxTail = 0;
		uart->TxHead = 0;
}

void UARTStartWorking(UARTStucrture *uart){
	HAL_UART_Receive_IT(uart->huart, uart->RxBuffer, uart->RxLen);
}

uint32_t UARTGetRxHead(UARTStucrture *uart)
{
	return uart->RxLen - uart->huart->RxXferCount;
}
int16_t UARTReadChar(UARTStucrture *uart)
{
	int16_t Result = -1;

	//check Buffer Position
	if (uart->RxTail != UARTGetRxHead(uart))
	{

		//get data from buffer
		Result = uart->RxBuffer[uart->RxTail];
		uart->RxTail = (uart->RxTail + 1) % uart->RxLen;

	}
	return Result;

}

//This UARTTxDumpBuff use to send data to other device
void UARTTxDumpBuff(UARTStucrture *uart){

	if(uart->huart->gState == HAL_UART_STATE_READY){
		if(uart->TxHead != uart->TxTail){
			uint16_t sentlen = uart->TxHead > uart->TxTail ?
					uart->TxHead - uart->TxTail :
					uart->TxLen - uart->TxTail;

			HAL_UART_Transmit_IT(uart->huart, &(uart->TxBuffer[uart->TxTail]), sentlen);

			//update tail
			uart->TxTail = (sentlen + uart->TxTail) % uart->TxLen;

		}
	}

}

//This UARTTxWrite use to copy data from data buffer to Tx buffer for transmit it to other device
void UARTTxWrite(UARTStucrture *uart, uint8_t *data, uint16_t len){

	uint16_t lenAddBuff = (len <= uart->TxLen) ? len : uart->TxLen;
	uint16_t numberOfDataCanCopy = lenAddBuff <= uart->TxLen - uart->TxHead ?
			lenAddBuff : uart->TxLen - uart->TxHead;

	//1st copy
	memcpy(&(uart->TxBuffer[uart->TxHead]), data, numberOfDataCanCopy);

	//update TxHead
	uart->TxHead = (uart->TxHead + lenAddBuff) % uart->TxLen;

	//2nd copy when 1st copy not enough memory in buffer
	if(lenAddBuff != numberOfDataCanCopy){
		memcpy(uart->TxBuffer, &(data[numberOfDataCanCopy]),
				lenAddBuff - numberOfDataCanCopy);
	}
	UARTTxDumpBuff(uart);
}
void system_core(uint8_t input_pack,UARTStucrture *uart){

	static veriflypack state = pack_idle;
	static SystemState SysState = System_Idle;
	static uint16_t lenPack = 0;
	static uint16_t instPack = 0;
	static uint16_t parameter[255] = {0};
	static uint16_t collectdata = 0;
	static uint16_t CRCCheck = 0;
	static uint16_t CRCCalculated = 0;

	switch(state)
	{
	case pack_idle:
		//check header of package
		if(input_pack == 0xFF){
			state = pack_lenght;
			debug_state = 0;
		}
		break;
	case pack_lenght:
		//collect package length
		lenPack = input_pack;
		state = pack_inst;
		debug_state = 1;
		break;
	case pack_inst:
		//collect package instruction
		instPack = input_pack;
		state = pack_collectdata;
		collectdata = 0;
		debug_state = 2;
		break;
	case pack_collectdata:
		if(lenPack - 4 != collectdata){
			parameter[collectdata] = input_pack;
			collectdata = (collectdata + 1) % 255;
			debug_state = 0xee;
		}
		else{
			CRCCheck = input_pack;
			state = pack_CRCandExecute;
			debug_state = 3;
		}
		break;
	case pack_CRCandExecute:
		CRCCheck = ( CRCCheck << 8 )| input_pack;
		CRCCalculated = 0;
		debug_state = 4;
		if(uart->RxTail - lenPack >= 0){
			CRCCalculated = update_crc(CRCCalculated, &(uart->RxBuffer[uart->RxTail - lenPack]),
					lenPack-2);
		}
		else{
			uint16_t firstcrc = uart->RxTail - lenPack + uart->RxLen;
			CRCCalculated = update_crc(CRCCalculated, &(uart->RxBuffer[firstcrc]),
								uart->RxLen - firstcrc);
			CRCCalculated = update_crc(CRCCalculated, uart->RxBuffer, uart->RxTail - 2);
		}

		//check CRC
		if(CRCCheck == CRCCalculated){
			sendAck(instPack,uart);

			//main state machine
			SysState = System_Idle;
			static uint8_t feedback = 0;

			switch(SysState){
			  case(System_Idle):
					  if(instPack == 1){
						  SysState = System_Home;
					  }
					  else if(instPack == 2){
						  SysState = System_ReprotStatus;
					  }
					  else if(instPack == 3){
						  SysState = System_JogJoint;
					  }
					  else if(instPack == 4){
						  SysState = System_CatesianJog;
					  }
					  else if(instPack == 5){
						  SysState = System_Move;
					  }
					  else if(instPack == 6){
						  SysState = System_PlanningMove;
					  }
					  else if(instPack == 7){
						  SysState = System_DYMXGripeer;
					  }
					  else{
						  SysState = System_Idle;
						  state = pack_idle;
					  }
					  break;
			  case(System_Home):
					  SysState = System_Idle;
			  	  	  state = pack_idle;
					  break;
			  case(System_ReprotStatus):
					  sendStatus(parameter[0],uart);
					  if(flag.status_flag == 1){
						  sendAck(instPack,uart);
						  flag.status_flag = 0;
						  SysState = System_Idle;
					  }
					  break;
			  case(System_JogJoint):
					  flag.feedback = parameter[0] & 0b00010000;
			  	  	  uint8_t movingJoint = parameter[0] & 0b00001111;
			  	  	  for(int joint=0;joint<4;joint++){
			  	  		  if(movingJoint >> joint == 1){
			  	  			  jointPosition[joint].viapoint = (parameter[1] << 8) | parameter[2];
			  	  		  }
			  	  	  }
			  	  	  if(movingJoint != 0){
			  	  		  SysState = System_Moving_PositionControl;
			  	  	  }
			  	  	  else{
			  	  		  //send error
			  	  		  SysState = System_Idle;
			  	  		  state = pack_idle;
			  	  	  }
					  break;
			  case(System_CatesianJog):
					  flag.feedback = parameter[0] & 0b00010000;
					  uint8_t count = 0;
					  for(int joint=0;joint<4;joint++){
						  jointPosition[joint].viapoint = (parameter[count+joint+1] << 8) | parameter[count+joint+2];
						  count++;
					  }
					  SysState = System_Moving_PositionControl;
					  break;
			  case(System_Move):
						flag.feedback = parameter[0] & 0b00010000;
						uint8_t count = 0;
						for(int joint=0;joint<4;joint++){
							jointPosition[joint].viapoint = (parameter[count+joint+1] << 8) | parameter[count+joint+2];
							count++;
						}
						SysState = System_Moving_PositionControl;
					  break;
			  case(System_PlanningMove):
					  break;
			  case(System_DYMXGripper):
					  break;
			  case(System_Moving_PositionControl):

					//control loop 1000 Hz
					  if(micros() - control_timestamp >= 1000 && flag.arrive == 0){
						  control_timestamp = micros();
						  //feedback loop 100hz
						  if(micros() - feedback_timestamp >= 10000 && flag.feedback == 1){
							  feedback_timestamp = micros();
							  sendfeedback(instPack);
						  }
						  //positioncontrol();
					  }
					  else{
						  SysState = System_Idle;
						  state = pack_idle;
						  flag.feedback = 0;
						  flag.arrive = 0;
					  }
					  break;
			  case(System_Moving_CasecadeControl):
					  break;

			  }
		}

		else{
			uint8_t temp[] = {0xff, 0x05, 0xee, 0x12, 0x00, 0x00};
			uint16_t calCRC = update_crc(0,temp,temp[1]+1);
			temp[4] = (calCRC >> 8) & 0xff;
			temp[5] = calCRC & 0xff;
			//send error
			UARTTxWrite(uart,temp,6);
			state = pack_idle;
		}
		break;
	}

#ifdef verify_debug
	verifyDegubVar[0] = lenPack;
	verifyDegubVar[1] = instPack;
	for(int i=2;i<=255+2;i++){
		verifyDegubVar[i] = parameter[i-2];
	}
	CRCdebug[0] = CRCCalculated;
	CRCdebug[1] = CRCCheck;
#endif

}

unsigned short update_crc(unsigned short crc_accum, unsigned char *data_blk_ptr,
		unsigned short data_blk_size)
{
	unsigned short i, j;
	unsigned short crc_table[256] =
	{ 0x0000, 0x8005, 0x800F, 0x000A, 0x801B, 0x001E, 0x0014, 0x8011, 0x8033,
			0x0036, 0x003C, 0x8039, 0x0028, 0x802D, 0x8027, 0x0022, 0x8063,
			0x0066, 0x006C, 0x8069, 0x0078, 0x807D, 0x8077, 0x0072, 0x0050,
			0x8055, 0x805F, 0x005A, 0x804B, 0x004E, 0x0044, 0x8041, 0x80C3,
			0x00C6, 0x00CC, 0x80C9, 0x00D8, 0x80DD, 0x80D7, 0x00D2, 0x00F0,
			0x80F5, 0x80FF, 0x00FA, 0x80EB, 0x00EE, 0x00E4, 0x80E1, 0x00A0,
			0x80A5, 0x80AF, 0x00AA, 0x80BB, 0x00BE, 0x00B4, 0x80B1, 0x8093,
			0x0096, 0x009C, 0x8099, 0x0088, 0x808D, 0x8087, 0x0082, 0x8183,
			0x0186, 0x018C, 0x8189, 0x0198, 0x819D, 0x8197, 0x0192, 0x01B0,
			0x81B5, 0x81BF, 0x01BA, 0x81AB, 0x01AE, 0x01A4, 0x81A1, 0x01E0,
			0x81E5, 0x81EF, 0x01EA, 0x81FB, 0x01FE, 0x01F4, 0x81F1, 0x81D3,
			0x01D6, 0x01DC, 0x81D9, 0x01C8, 0x81CD, 0x81C7, 0x01C2, 0x0140,
			0x8145, 0x814F, 0x014A, 0x815B, 0x015E, 0x0154, 0x8151, 0x8173,
			0x0176, 0x017C, 0x8179, 0x0168, 0x816D, 0x8167, 0x0162, 0x8123,
			0x0126, 0x012C, 0x8129, 0x0138, 0x813D, 0x8137, 0x0132, 0x0110,
			0x8115, 0x811F, 0x011A, 0x810B, 0x010E, 0x0104, 0x8101, 0x8303,
			0x0306, 0x030C, 0x8309, 0x0318, 0x831D, 0x8317, 0x0312, 0x0330,
			0x8335, 0x833F, 0x033A, 0x832B, 0x032E, 0x0324, 0x8321, 0x0360,
			0x8365, 0x836F, 0x036A, 0x837B, 0x037E, 0x0374, 0x8371, 0x8353,
			0x0356, 0x035C, 0x8359, 0x0348, 0x834D, 0x8347, 0x0342, 0x03C0,
			0x83C5, 0x83CF, 0x03CA, 0x83DB, 0x03DE, 0x03D4, 0x83D1, 0x83F3,
			0x03F6, 0x03FC, 0x83F9, 0x03E8, 0x83ED, 0x83E7, 0x03E2, 0x83A3,
			0x03A6, 0x03AC, 0x83A9, 0x03B8, 0x83BD, 0x83B7, 0x03B2, 0x0390,
			0x8395, 0x839F, 0x039A, 0x838B, 0x038E, 0x0384, 0x8381, 0x0280,
			0x8285, 0x828F, 0x028A, 0x829B, 0x029E, 0x0294, 0x8291, 0x82B3,
			0x02B6, 0x02BC, 0x82B9, 0x02A8, 0x82AD, 0x82A7, 0x02A2, 0x82E3,
			0x02E6, 0x02EC, 0x82E9, 0x02F8, 0x82FD, 0x82F7, 0x02F2, 0x02D0,
			0x82D5, 0x82DF, 0x02DA, 0x82CB, 0x02CE, 0x02C4, 0x82C1, 0x8243,
			0x0246, 0x024C, 0x8249, 0x0258, 0x825D, 0x8257, 0x0252, 0x0270,
			0x8275, 0x827F, 0x027A, 0x826B, 0x026E, 0x0264, 0x8261, 0x0220,
			0x8225, 0x822F, 0x022A, 0x823B, 0x023E, 0x0234, 0x8231, 0x8213,
			0x0216, 0x021C, 0x8219, 0x0208, 0x820D, 0x8207, 0x0202 };

	for (j = 0; j < data_blk_size; j++)
	{
		i = ((unsigned short) (crc_accum >> 8) ^ data_blk_ptr[j]) & 0xFF;
		crc_accum = (crc_accum << 8) ^ crc_table[i];
	}

	return crc_accum;
}

void sendAck(uint16_t inst,UARTStucrture *uart){
	uint8_t temp[] = {0xff, 0x04, 0x00, 0x00, 0x00};
	temp[2] =  0xA0 | ( inst & 0xFF );
	uint16_t calCRC = update_crc(0,temp,temp[1]+1);
	temp[4] = (calCRC >> 8) & 0xff;
	temp[5] = calCRC & 0xff;
	//send acknowledged
	UARTTxWrite(uart,temp,6);
}

void sendfeedback(uint16_t inst){

	if(inst == 3 || inst == 4 || inst == 5){
		uint8_t temp[] = {0xff,0x0d,0x0c,0x0c,0x01,0x01,0x02,0x02,0x03,
					0x03,0x04,0x04,0x99,0x99};
		uint8_t indxcount = 5;

		temp[2] =  0xF0 | ( inst & 0xFF );

		//	temp[3] = nowPositionChessboard_H;
		//	temp[4] = nowPositionChessboard_L;

		for(int joint = 0;joint < 4 ; joint++){
			temp[indxcount] = controlVarOfJoint[joint].nowPosition / 256;
			temp[indxcount+1] = controlVarOfJoint[joint].nowPosition % 256;
			indxcount = indxcount+2;
		}

	}
	if(inst == 6){
		int8_t temp[] = {0xff,0x0e,0x00,0x00,0x00,0x00,0x00,0x00,0x00,0x00,
							0x00,0x00,0x00,0x00,0x00,0x99,0x99};
		uint8_t indxcount = 5;

		temp[2] =  0xF0 | ( inst & 0xFF );

		//	temp[3] = nowPositionChessboard_H;
		//	temp[4] = nowPositionChessboard_L;

		for(int joint = 0;joint < 4 ; joint++){
			temp[indxcount] = controlVarOfJoint[joint].nowPosition / 256;
			temp[indxcount+1] = controlVarOfJoint[joint].nowPosition % 256;
			indxcount = indxcount+2;
		}

		temp[13] = (uint8_t)(traj_T);
		temp[14] = (uint8_t)(traj_t * 1000);
	}

	//calcualte CRC
	uint16_t calCRC = update_crc(0,temp,temp[1]+1);
	temp[19] = (calCRC >> 8) & 0xff;
	temp[20] = calCRC & 0xff;
	UARTTxWrite(uart,temp,temp[1]+1);
	flag.feedback = 1;

}
void sendStatus(uint8_t require,UARTStucrture *uart){
	uint8_t temp[] = {0xff,0x15,0x02,0x00,0x00,0x00,0x00,0x00,0x00,0x00,0x00,0x00,0x00,0x00,0x00,
								  0x00,0x00,0x00,0x00,0x00,0x00};
	uint8_t value = 128;
	uint8_t idxCount[2] = {5,0};

	//assembly package

	//update position of chessboard
		//	temp[3] = nowPositionChessboard_H;
		//	temp[4] = nowPositionChessboard_L;

	//update position of joint
	for(int i=6;i>=3;i--){
		if((require & value) >> i == 1){
			temp[idxCount[0]] = controlVarOfJoint[idxCount[1]].viapoint / 256;
			temp[idxCount[0]+1] = controlVarOfJoint[idxCount[1]].viapoint % 256;
			idxCount[0] = idxCount[0] + 2;
			idxCount[1]++;
			value = value/2;
		}
	}

	//update other data?

	//calcualte CRC
	uint16_t calCRC = update_crc(0,temp,temp[1]+1);
	temp[19] = (calCRC >> 8) & 0xff;
	temp[20] = calCRC & 0xff;
	UARTTxWrite(uart,temp,temp[1]+1);
	flag.status_flag = 1;
}

void configPosition(){
	controlVarOfJoint[0].htim = &htim1;
	controlVarOfJoint[0].nowPosition = htim1.Instance->CNT;
	controlVarOfJoint[1].htim = &htim3;
	controlVarOfJoint[1].nowPosition = htim3.Instance->CNT;
	controlVarOfJoint[2].htim = &htim4;
	controlVarOfJoint[2].nowPosition = htim4.Instance->CNT;
	controlVarOfJoint[3].htim = &htim8;
	controlVarOfJoint[3].nowPosition = htim8.Instance->CNT;
}

void positioncontrol(){

	static int32_t error[4] = {0};
	static int32_t preError[4] = {0};
	static int32_t diffError[4] = {0};
	static int32_t intgError[4] = {0};
	static int32_t positionPID[4] = {0};

	for(int joint = 0;joint <4;joint++){
		error[joint] = controlVarOfJoint[joint].viapoint - controlVarOfJoint[joint].nowPosition;
		diffError[joint] = error[joint] - preError[joint];
		intgError[joint] += error[joint];
		preError[joint] = error[joint];

		positionPID[joint] = controlVarOfJoint[joint].positionKp*error + controlVarOfJoint[joint].positionKi*intgError
				+ controlVarOfJoint[joint].positionKd*diffError;

		/*driver motor
		if
		else if
		else if
		else
		*/
	}

}

void HAL_TIM_PeriodElapsedCallback(TIM_HandleTypeDef *htim)
{
	if (htim == &htim7)
	{
		_micros += 65535;
	}
}
uint64_t micros()
{
	return _micros + htim7.Instance->CNT;
}

/* USER CODE END 4 */

void Error_Handler(void)
{
  __disable_irq();
  while (1)
  {
  }
}

/************************ (C) COPYRIGHT STMicroelectronics *****END OF FILE****/
